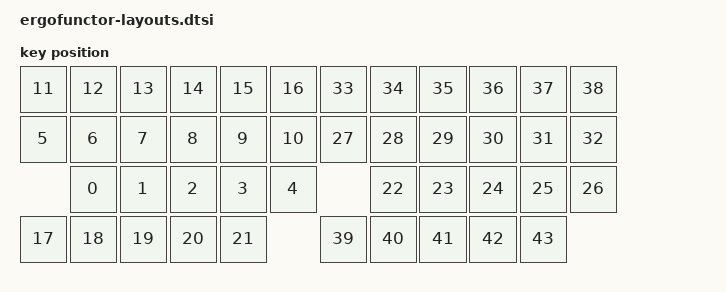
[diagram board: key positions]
#include <physical_layouts.dtsi>

/ {
    default_layout: default_layout {
        compatible = "zmk,physical-layout";
        display-name = "Default Layout";
        transform = <&default_transform>;
        kscan = <&kscan>;

        // Keys are listed in the same order as the entries in default_transform map.
        keys
            // --- Left half (22 keys) ---
            // bottom row, y=200
            = <&key_physical_attrs 100 100  100  200    0     0     0>
            , <&key_physical_attrs 100 100  200  200    0     0     0>
            , <&key_physical_attrs 100 100  300  200    0     0     0>
            , <&key_physical_attrs 100 100  400  200    0     0     0>
            , <&key_physical_attrs 100 100  500  200    0     0     0>
            // home row, y=100
            , <&key_physical_attrs 100 100    0  100    0     0     0>
            , <&key_physical_attrs 100 100  100  100    0     0     0>
            , <&key_physical_attrs 100 100  200  100    0     0     0>
            , <&key_physical_attrs 100 100  300  100    0     0     0>
            , <&key_physical_attrs 100 100  400  100    0     0     0>
            , <&key_physical_attrs 100 100  500  100    0     0     0>
            // top row, y=0
            , <&key_physical_attrs 100 100    0    0    0     0     0>
            , <&key_physical_attrs 100 100  100    0    0     0     0>
            , <&key_physical_attrs 100 100  200    0    0     0     0>
            , <&key_physical_attrs 100 100  300    0    0     0     0>
            , <&key_physical_attrs 100 100  400    0    0     0     0>
            , <&key_physical_attrs 100 100  500    0    0     0     0>
            // thumb row, y=300
            , <&key_physical_attrs 100 100    0  300    0     0     0>
            , <&key_physical_attrs 100 100  100  300    0     0     0>
            , <&key_physical_attrs 100 100  200  300    0     0     0>
            , <&key_physical_attrs 100 100  300  300    0     0     0>
            , <&key_physical_attrs 100 100  400  300    0     0     0>

            // --- Right half: mirrored approximation (22 keys) ---
            // bottom row, y=200, x mirrored around a center at ~1100
            , <&key_physical_attrs 100 100  700  200    0     0     0>
            , <&key_physical_attrs 100 100  800  200    0     0     0>
            , <&key_physical_attrs 100 100  900  200    0     0     0>
            , <&key_physical_attrs 100 100 1000  200    0     0     0>
            , <&key_physical_attrs 100 100 1100  200    0     0     0>
            // home row, y=100
            , <&key_physical_attrs 100 100  600  100    0     0     0>
            , <&key_physical_attrs 100 100  700  100    0     0     0>
            , <&key_physical_attrs 100 100  800  100    0     0     0>
            , <&key_physical_attrs 100 100  900  100    0     0     0>
            , <&key_physical_attrs 100 100 1000  100    0     0     0>
            , <&key_physical_attrs 100 100 1100  100    0     0     0>
            // top row, y=0
            , <&key_physical_attrs 100 100  600    0    0     0     0>
            , <&key_physical_attrs 100 100  700    0    0     0     0>
            , <&key_physical_attrs 100 100  800    0    0     0     0>
            , <&key_physical_attrs 100 100  900    0    0     0     0>
            , <&key_physical_attrs 100 100 1000    0    0     0     0>
            , <&key_physical_attrs 100 100 1100    0    0     0     0>
            // thumb row, y=300
            , <&key_physical_attrs 100 100  600  300    0     0     0>
            , <&key_physical_attrs 100 100  700  300    0     0     0>
            , <&key_physical_attrs 100 100  800  300    0     0     0>
            , <&key_physical_attrs 100 100  900  300    0     0     0>
            , <&key_physical_attrs 100 100 1000  300    0     0     0>
            ;
    };
};
